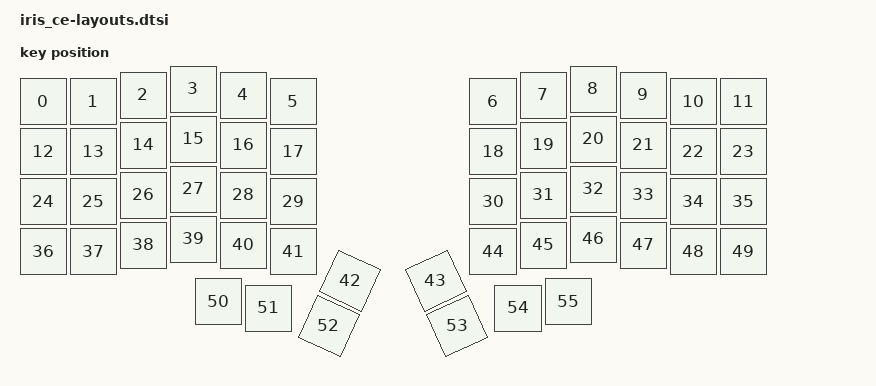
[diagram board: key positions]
#include <physical_layouts.dtsi>

/ {
    default_layout: default_layout {
        compatible = "zmk,physical-layout";
        display-name = "Default Layout";
        kscan = <&kscan0>;
        transform = <&default_transform>;

        keys  //                     w   h    x    y     rot    rx    ry
            = <&key_physical_attrs 100 100    0   25       0     0     0>
            , <&key_physical_attrs 100 100  100   25       0     0     0>
            , <&key_physical_attrs 100 100  200   12       0     0     0>
            , <&key_physical_attrs 100 100  300    0       0     0     0>
            , <&key_physical_attrs 100 100  400   12       0     0     0>
            , <&key_physical_attrs 100 100  500   25       0     0     0>
            , <&key_physical_attrs 100 100  900   25       0     0     0>
            , <&key_physical_attrs 100 100 1000   12       0     0     0>
            , <&key_physical_attrs 100 100 1100    0       0     0     0>
            , <&key_physical_attrs 100 100 1200   12       0     0     0>
            , <&key_physical_attrs 100 100 1300   25       0     0     0>
            , <&key_physical_attrs 100 100 1400   25       0     0     0>
            , <&key_physical_attrs 100 100    0  125       0     0     0>
            , <&key_physical_attrs 100 100  100  125       0     0     0>
            , <&key_physical_attrs 100 100  200  112       0     0     0>
            , <&key_physical_attrs 100 100  300  100       0     0     0>
            , <&key_physical_attrs 100 100  400  112       0     0     0>
            , <&key_physical_attrs 100 100  500  125       0     0     0>
            , <&key_physical_attrs 100 100  900  125       0     0     0>
            , <&key_physical_attrs 100 100 1000  112       0     0     0>
            , <&key_physical_attrs 100 100 1100  100       0     0     0>
            , <&key_physical_attrs 100 100 1200  112       0     0     0>
            , <&key_physical_attrs 100 100 1300  125       0     0     0>
            , <&key_physical_attrs 100 100 1400  125       0     0     0>
            , <&key_physical_attrs 100 100    0  225       0     0     0>
            , <&key_physical_attrs 100 100  100  225       0     0     0>
            , <&key_physical_attrs 100 100  200  212       0     0     0>
            , <&key_physical_attrs 100 100  300  200       0     0     0>
            , <&key_physical_attrs 100 100  400  212       0     0     0>
            , <&key_physical_attrs 100 100  500  225       0     0     0>
            , <&key_physical_attrs 100 100  900  225       0     0     0>
            , <&key_physical_attrs 100 100 1000  212       0     0     0>
            , <&key_physical_attrs 100 100 1100  200       0     0     0>
            , <&key_physical_attrs 100 100 1200  212       0     0     0>
            , <&key_physical_attrs 100 100 1300  225       0     0     0>
            , <&key_physical_attrs 100 100 1400  225       0     0     0>
            , <&key_physical_attrs 100 100    0  325       0     0     0>
            , <&key_physical_attrs 100 100  100  325       0     0     0>
            , <&key_physical_attrs 100 100  200  312       0     0     0>
            , <&key_physical_attrs 100 100  300  300       0     0     0>
            , <&key_physical_attrs 100 100  400  312       0     0     0>
            , <&key_physical_attrs 100 100  500  325       0     0     0>
            , <&key_physical_attrs 100 100  350  325    2500   400  1000>
            , <&key_physical_attrs 100 100 1050  325 (-2500)  1100  1000>
            , <&key_physical_attrs 100 100  900  325       0     0     0>
            , <&key_physical_attrs 100 100 1000  312       0     0     0>
            , <&key_physical_attrs 100 100 1100  300       0     0     0>
            , <&key_physical_attrs 100 100 1200  312       0     0     0>
            , <&key_physical_attrs 100 100 1300  325       0     0     0>
            , <&key_physical_attrs 100 100 1400  325       0     0     0>
            , <&key_physical_attrs 100 100  350  425       0     0     0>
            , <&key_physical_attrs 100 100  450  438       0     0     0>
            , <&key_physical_attrs 100 100  350  425    2500   400  1000>
            , <&key_physical_attrs 100 100 1050  425 (-2500)  1100  1000>
            , <&key_physical_attrs 100 100  950  438       0     0     0>
            , <&key_physical_attrs 100 100 1050  425       0     0     0>
            ;
    };
};
